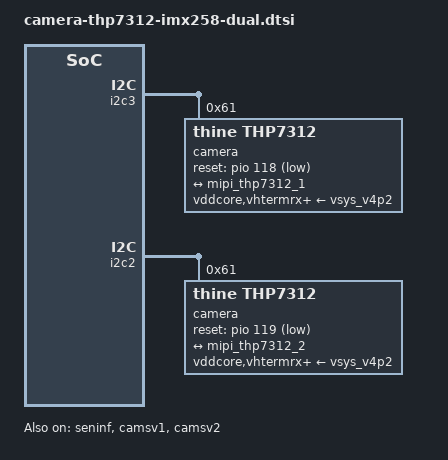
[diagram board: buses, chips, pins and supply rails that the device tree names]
// SPDX-License-Identifier: GPL-2.0

#include <dt-bindings/input/input.h>
#include <dt-bindings/clock/mt8365-clk.h>
#include <dt-bindings/gpio/gpio.h>
#include <dt-bindings/pinctrl/mt8365-pinfunc.h>

/dts-v1/;
/plugin/;

/ {
	fragment@0 {
		target = <&pio>;
		__overlay__ {
			cam0_pins_default: cam0_pins_default {
				pins_rst {
					pinmux = <MT8365_PIN_118_DMIC0_DAT0__FUNC_GPIO118>;
				};
			};

			cam1_pins_default: cam1_pins_default {
				pins_rst {
					pinmux = <MT8365_PIN_119_DMIC0_DAT1__FUNC_GPIO119>;
				};
			};
		};
	};

	fragment@1 {
		target = <&i2c3>;
		__overlay__ {
			camera@61 {
				compatible = "thine,thp7312";
				reg = <0x61>;

				/* Uncomment and set reg to 0x60 for flash mode. */
				// thine,boot-mode = <1>;

				pinctrl-names = "default";
				pinctrl-0 = <&cam0_pins_default>;

				reset-gpios = <&pio 118 GPIO_ACTIVE_LOW>;
				clocks = <&camera61_clk>;

				vddcore-supply = <&vsys_v4p2>;
				vhtermrx-supply = <&vsys_v4p2>;
				vddtx-supply = <&vsys_v4p2>;
				vddhost-supply = <&vsys_v4p2>;
				vddcmos-supply = <&vsys_v4p2>;
				vddgpio-0-supply = <&vsys_v4p2>;
				vddgpio-1-supply = <&vsys_v4p2>;

				orientation = <0>;
				rotation = <0>;

				thine,rx,data-lanes = <4 1 3 2>;

				port {
					thp7312_1_endpoint: endpoint {
						remote-endpoint = <&mipi_thp7312_1>;
						data-lanes = <4 2 1 3>;
					};
				};

				sensors {
					#address-cells = <1>;
					#size-cells = <0>;

					sensor@0 {
						thine,model = "sony,imx258";
						reg = <0>;

						data-lanes = <4 1 3 2>;
					};
				};
			};
		};
	};

	fragment@2 {
		target = <&i2c2>;
		__overlay__ {
			camera@61 {
				compatible = "thine,thp7312";
				reg = <0x61>;

				/* Uncomment and set reg to 0x60 for flash mode. */
				// thine,boot-mode = <1>;

				pinctrl-names = "default";
				pinctrl-0 = <&cam1_pins_default>;

				reset-gpios = <&pio 119 GPIO_ACTIVE_LOW>;
				clocks = <&camera61_clk>;

				vddcore-supply = <&vsys_v4p2>;
				vhtermrx-supply = <&vsys_v4p2>;
				vddtx-supply = <&vsys_v4p2>;
				vddhost-supply = <&vsys_v4p2>;
				vddcmos-supply = <&vsys_v4p2>;
				vddgpio-0-supply = <&vsys_v4p2>;
				vddgpio-1-supply = <&vsys_v4p2>;

				orientation = <0>;
				rotation = <0>;

				thine,rx,data-lanes = <4 1 3 2>;

				port {
					thp7312_2_endpoint: endpoint {
						remote-endpoint = <&mipi_thp7312_2>;
						data-lanes = <4 2 1 3>;
					};
				};

				sensors {
					#address-cells = <1>;
					#size-cells = <0>;

					sensor@0 {
						thine,model = "sony,imx258";
						reg = <0>;

						data-lanes = <4 1 3 2>;
					};
				};

			};
		};
	};

	fragment@3 {
		target = <&seninf>;
		__overlay__ {
			status = "okay";

			ports {
				port@0 {
					mipi_thp7312_1: endpoint {
						clock-lanes = <2>;
						data-lanes = <1 3 0 4>;
						remote-endpoint = <&thp7312_1_endpoint>;
					};
				};

				port@1 {
					mipi_thp7312_2: endpoint {
						clock-lanes = <2>;
						data-lanes = <1 3 0 4>;
						remote-endpoint = <&thp7312_2_endpoint>;
					};
				};
			};
		};
	};

	fragment@4 {
		target = <&camsv1>;
		__overlay__ {
			status = "okay";
		};
	};

	fragment@5 {
		target = <&camsv2>;
		__overlay__ {
			status = "okay";
		};
	};
};
